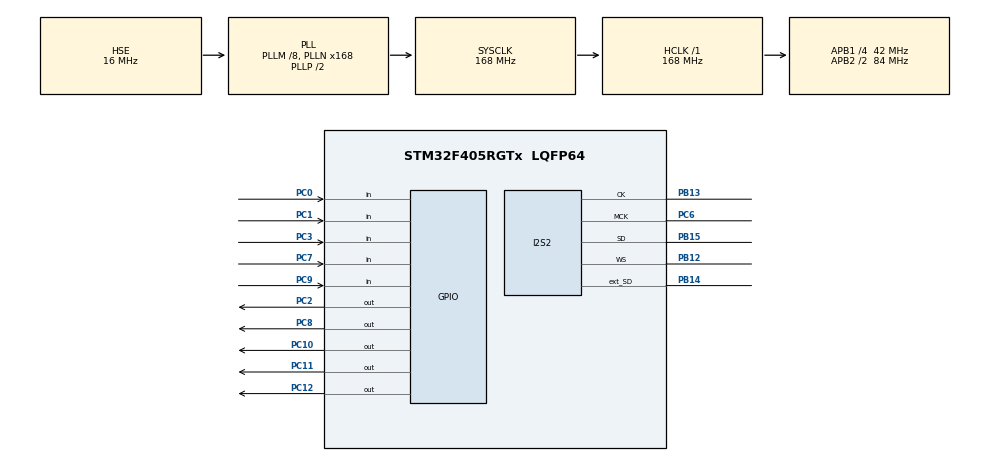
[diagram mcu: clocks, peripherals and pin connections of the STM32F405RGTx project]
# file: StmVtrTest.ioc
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Dma.I2S2_EXT_RX.1.Direction=DMA_PERIPH_TO_MEMORY
Dma.I2S2_EXT_RX.1.FIFOMode=DMA_FIFOMODE_DISABLE
Dma.I2S2_EXT_RX.1.Instance=DMA1_Stream3
Dma.I2S2_EXT_RX.1.MemDataAlignment=DMA_MDATAALIGN_HALFWORD
Dma.I2S2_EXT_RX.1.MemInc=DMA_MINC_ENABLE
Dma.I2S2_EXT_RX.1.Mode=DMA_CIRCULAR
Dma.I2S2_EXT_RX.1.PeriphDataAlignment=DMA_PDATAALIGN_HALFWORD
Dma.I2S2_EXT_RX.1.PeriphInc=DMA_PINC_DISABLE
Dma.I2S2_EXT_RX.1.Priority=DMA_PRIORITY_VERY_HIGH
Dma.Request0=SPI2_TX
Dma.Request1=I2S2_EXT_RX
Dma.SPI2_TX.0.Direction=DMA_MEMORY_TO_PERIPH
Dma.SPI2_TX.0.FIFOMode=DMA_FIFOMODE_DISABLE
Dma.SPI2_TX.0.Instance=DMA1_Stream4
Dma.SPI2_TX.0.MemDataAlignment=DMA_MDATAALIGN_HALFWORD
Dma.SPI2_TX.0.MemInc=DMA_MINC_ENABLE
Dma.SPI2_TX.0.Mode=DMA_CIRCULAR
Dma.SPI2_TX.0.PeriphDataAlignment=DMA_PDATAALIGN_HALFWORD
Dma.SPI2_TX.0.PeriphInc=DMA_PINC_DISABLE
Dma.SPI2_TX.0.Priority=DMA_PRIORITY_VERY_HIGH
I2S2.AudioFreq=I2S_AUDIOFREQ_48K
I2S2.ErrorAudioFreq=1.72 %
I2S2.FullDuplexMode=I2S_FULLDUPLEXMODE_ENABLE
I2S2.Instance=SPI$Index
I2S2.RealAudioFreq=48.828 KHz
I2S2.VirtualMode=I2S_MODE_MASTER
Mcu.Family=STM32F4
Mcu.Name=STM32F405RGTx
Mcu.Package=LQFP64
NVIC.DMA1_Stream3_IRQn=true\:0\:0\:false\:false\:true\:false\:true\:true
NVIC.DMA1_Stream4_IRQn=true\:0\:0\:false\:false\:true\:false\:true\:true
NVIC.PriorityGroup=NVIC_PRIORITYGROUP_4
PA10.Signal=USART1_RX
PA11.Signal=USB_OTG_FS_DM
PA12.Signal=USB_OTG_FS_DP
PB10.Signal=I2C2_SCL
PB11.Signal=I2C2_SDA
PB12.Mode=Full_Duplex_Master
PB12.Signal=I2S2_WS
PB13.Mode=Full_Duplex_Master
PB13.Signal=I2S2_CK
PB14.Mode=Full_Duplex_Master
PB14.Signal=I2S2_ext_SD
PB15.Mode=Full_Duplex_Master
PB15.Signal=I2S2_SD
PB7.Signal=I2C1_SDA
PB8.Signal=I2C1_SCL
PC0.Signal=GPIO_Input
PC1.Signal=GPIO_Input
PC10.Signal=GPIO_Output
PC11.Signal=GPIO_Output
PC12.Signal=GPIO_Output
PC2.Signal=GPIO_Output
PC3.Signal=GPIO_Input
PC6.Mode=Master_Clock_Activated
PC6.Signal=I2S2_MCK
PC7.Signal=GPIO_Input
PC8.Signal=GPIO_Output
PC9.Signal=GPIO_Input
PH0-OSC_IN.Mode=HSE-External-Oscillator
PH0-OSC_IN.Signal=RCC_OSC_IN
PH1-OSC_OUT.Mode=HSE-External-Oscillator
PH1-OSC_OUT.Signal=RCC_OSC_OUT
ProjectManager.HeapSize=0x200
ProjectManager.StackSize=0x400
ProjectManager.TargetToolchain=STM32CubeIDE
RCC.48MHZClocksFreq_Value=84000000
RCC.AHBFreq_Value=168000000
RCC.APB1CLKDivider=RCC_HCLK_DIV4
RCC.APB1Freq_Value=42000000
RCC.APB1TimFreq_Value=84000000
RCC.APB2CLKDivider=RCC_HCLK_DIV2
RCC.APB2Freq_Value=84000000
RCC.APB2TimFreq_Value=168000000
RCC.CortexFreq_Value=168000000
RCC.HCLKFreq_Value=168000000
RCC.HSE_VALUE=16000000
RCC.HSI_VALUE=16000000
RCC.LSE_VALUE=32768
RCC.PLLI2SN=50
RCC.PLLM=8
RCC.PLLN=168
RCC.PLLSourceVirtual=RCC_PLLSOURCE_HSE
RCC.SYSCLKFreq_VALUE=168000000
RCC.SYSCLKSource=RCC_SYSCLKSOURCE_PLLCLK
RCC.VCOOutputFreq_Value=336000000
board=custom

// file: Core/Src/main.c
/* USER CODE BEGIN Header */
/**
  ******************************************************************************
  * @file           : main.c
  * @brief          : Main program body
  ******************************************************************************
  * @attention
  *
  * Copyright (c) 2024 STMicroelectronics.
  * All rights reserved.
  *
  * This software is licensed under terms that can be found in the LICENSE file
  * in the root directory of this software component.
  * If no LICENSE file comes with this software, it is provided AS-IS.
  *
  ******************************************************************************
  */
/* USER CODE END Header */
#include "main.h"
#include "usb_device.h"

/* USER CODE BEGIN PTD */
#define BUFFER_SIZE 128
/* USER CODE END PTD */

I2S_HandleTypeDef hi2s2;
DMA_HandleTypeDef hdma_spi2_tx;
DMA_HandleTypeDef hdma_i2s2_ext_rx;

/* USER CODE BEGIN PV */
int16_t adcData[BUFFER_SIZE];
int16_t dacData[BUFFER_SIZE];

static volatile int16_t *inBufPtr;
static volatile int16_t *outBufPtr = &dacData[0];

uint8_t dataReadyFlag;
/* USER CODE END PV */

void SystemClock_Config(void);
static void MX_GPIO_Init(void);
static void MX_DMA_Init(void);
static void MX_I2S2_Init(void);

/* USER CODE BEGIN 0 */

void HAL_I2SEx_TxRxHalfCpltCallback(I2S_HandleTypeDef *hi2s){
	inBufPtr = &adcData[0];
	outBufPtr = &dacData[0];
	dataReadyFlag = 1;
}

void HAL_I2SEx_TxRxCpltCallback(I2S_HandleTypeDef *hi2s){
	inBufPtr = &adcData[BUFFER_SIZE/2];
	outBufPtr = &dacData[BUFFER_SIZE/2];
	dataReadyFlag = 1;
}
void processData(){
	static float leftIn, leftOut;
	static float rightIn, rightOut;
	for(uin8_t n = 0; n < (BUFFER_SIZE/2) - 1; n+=2){
		leftIn = INT16_TO_FLOAT * inBufPtr[n];
		if(leftIn > 1.0f){
			leftIn -= 2.0f;
		}
		leftOut = leftIn;
		outBufPtr[n] = (int16_t)(FLOAT_TO_INT16 * leftOut);

		rightIn = INT16_TO_FLOAT * inBufPtr[n+1];
		if(rightIn > 1.0f){
			rightIn -= 2.0f;
		}
		rightOut = rightIn;
		outBufPtr[n+1] = (int16_t)(FLOAT_TO_INT16 * rightOut);
	}
	dataReadyFlag = 0;
}
/* USER CODE END 0 */

int main(void)
{

  /* MCU Configuration--------------------------------------------------------*/

  /* Reset of all peripherals, Initializes the Flash interface and the Systick. */
  HAL_Init();

  /* Configure the system clock */
  SystemClock_Config();

  /* Initialize all configured peripherals */
  MX_GPIO_Init();
  MX_DMA_Init();
  MX_I2S2_Init();
  /* USER CODE BEGIN 2 */
  GDSP_Codec_Init(&codec, &hi2c2, CODEC_NRST_GPIO_Port, CODEC_NRST_Pin);
  HAL_Delay(50);
  HAL_StatusTypeDef status = HAL_I2SEx_TransmitReceive_DMA(&hi2s2, (uint16_t *) dacData, (uint16_t *) adcData, BUFFER_SIZE);

  /* USER CODE END 2 */

  /* Infinite loop */
  while (1)
  {
	  if(dataReadyFlag){
		  processData();
	  }

  }
}

void SystemClock_Config(void)
{
  RCC_OscInitTypeDef RCC_OscInitStruct = {0};
  RCC_ClkInitTypeDef RCC_ClkInitStruct = {0};

  /** Configure the main internal regulator output voltage
  */
  __HAL_RCC_PWR_CLK_ENABLE();
  __HAL_PWR_VOLTAGESCALING_CONFIG(PWR_REGULATOR_VOLTAGE_SCALE1);

  /** Initializes the RCC Oscillators according to the specified parameters
  * in the RCC_OscInitTypeDef structure.
  */
  RCC_OscInitStruct.OscillatorType = RCC_OSCILLATORTYPE_HSE;
  RCC_OscInitStruct.HSEState = RCC_HSE_ON;
  RCC_OscInitStruct.PLL.PLLState = RCC_PLL_ON;
  RCC_OscInitStruct.PLL.PLLSource = RCC_PLLSOURCE_HSE;
  RCC_OscInitStruct.PLL.PLLM = 8;
  RCC_OscInitStruct.PLL.PLLN = 168;
  RCC_OscInitStruct.PLL.PLLP = RCC_PLLP_DIV2;
  RCC_OscInitStruct.PLL.PLLQ = 4;
  if (HAL_RCC_OscConfig(&RCC_OscInitStruct) != HAL_OK)
  {
    Error_Handler();
  }

  /** Initializes the CPU, AHB and APB buses clocks
  */
  RCC_ClkInitStruct.ClockType = RCC_CLOCKTYPE_HCLK|RCC_CLOCKTYPE_SYSCLK
                              |RCC_CLOCKTYPE_PCLK1|RCC_CLOCKTYPE_PCLK2;
  RCC_ClkInitStruct.SYSCLKSource = RCC_SYSCLKSOURCE_PLLCLK;
  RCC_ClkInitStruct.AHBCLKDivider = RCC_SYSCLK_DIV1;
  RCC_ClkInitStruct.APB1CLKDivider = RCC_HCLK_DIV4;
  RCC_ClkInitStruct.APB2CLKDivider = RCC_HCLK_DIV2;

  if (HAL_RCC_ClockConfig(&RCC_ClkInitStruct, FLASH_LATENCY_5) != HAL_OK)
  {
    Error_Handler();
  }
}

static void MX_I2S2_Init(void)
{

  hi2s2.Instance = SPI2;
  hi2s2.Init.Mode = I2S_MODE_MASTER_TX;
  hi2s2.Init.Standard = I2S_STANDARD_PHILIPS;
  hi2s2.Init.DataFormat = I2S_DATAFORMAT_16B;
  hi2s2.Init.MCLKOutput = I2S_MCLKOUTPUT_ENABLE;
  hi2s2.Init.AudioFreq = I2S_AUDIOFREQ_48K;
  hi2s2.Init.CPOL = I2S_CPOL_LOW;
  hi2s2.Init.ClockSource = I2S_CLOCK_PLL;
  hi2s2.Init.FullDuplexMode = I2S_FULLDUPLEXMODE_ENABLE;
  if (HAL_I2S_Init(&hi2s2) != HAL_OK)
  {
    Error_Handler();
  }

}

static void MX_DMA_Init(void)
{

  /* DMA controller clock enable */
  __HAL_RCC_DMA1_CLK_ENABLE();

  /* DMA interrupt init */
  /* DMA1_Stream3_IRQn interrupt configuration */
  HAL_NVIC_SetPriority(DMA1_Stream3_IRQn, 0, 0);
  HAL_NVIC_EnableIRQ(DMA1_Stream3_IRQn);
  /* DMA1_Stream4_IRQn interrupt configuration */
  HAL_NVIC_SetPriority(DMA1_Stream4_IRQn, 0, 0);
  HAL_NVIC_EnableIRQ(DMA1_Stream4_IRQn);

}

static void MX_GPIO_Init(void)
{
  GPIO_InitTypeDef GPIO_InitStruct = {0};

  /* GPIO Ports Clock Enable */
  __HAL_RCC_GPIOH_CLK_ENABLE();
  __HAL_RCC_GPIOC_CLK_ENABLE();
  __HAL_RCC_GPIOB_CLK_ENABLE();
  __HAL_RCC_GPIOA_CLK_ENABLE();

  /*Configure GPIO pin Output Level */
  HAL_GPIO_WritePin(GPIOC, GPIO_PIN_2|GPIO_PIN_8|GPIO_PIN_10|GPIO_PIN_11
                          |GPIO_PIN_12, GPIO_PIN_RESET);

  /*Configure GPIO pins : PC0 PC1 PC3 PC7
                           PC9 */
  GPIO_InitStruct.Pin = GPIO_PIN_0|GPIO_PIN_1|GPIO_PIN_3|GPIO_PIN_7
                          |GPIO_PIN_9;
  GPIO_InitStruct.Mode = GPIO_MODE_INPUT;
  GPIO_InitStruct.Pull = GPIO_NOPULL;
  HAL_GPIO_Init(GPIOC, &GPIO_InitStruct);

  /*Configure GPIO pins : PC2 PC8 PC10 PC11
                           PC12 */
  GPIO_InitStruct.Pin = GPIO_PIN_2|GPIO_PIN_8|GPIO_PIN_10|GPIO_PIN_11
                          |GPIO_PIN_12;
  GPIO_InitStruct.Mode = GPIO_MODE_OUTPUT_PP;
  GPIO_InitStruct.Pull = GPIO_NOPULL;
  GPIO_InitStruct.Speed = GPIO_SPEED_FREQ_LOW;
  HAL_GPIO_Init(GPIOC, &GPIO_InitStruct);

  /*Configure GPIO pins : PB10 PB11 */
  GPIO_InitStruct.Pin = GPIO_PIN_10|GPIO_PIN_11;
  GPIO_InitStruct.Mode = GPIO_MODE_AF_OD;
  GPIO_InitStruct.Pull = GPIO_NOPULL;
  GPIO_InitStruct.Speed = GPIO_SPEED_FREQ_VERY_HIGH;
  GPIO_InitStruct.Alternate = GPIO_AF4_I2C2;
  HAL_GPIO_Init(GPIOB, &GPIO_InitStruct);

  /*Configure GPIO pin : PA10 */
  GPIO_InitStruct.Pin = GPIO_PIN_10;
  GPIO_InitStruct.Mode = GPIO_MODE_AF_PP;
  GPIO_InitStruct.Pull = GPIO_NOPULL;
  GPIO_InitStruct.Speed = GPIO_SPEED_FREQ_VERY_HIGH;
  GPIO_InitStruct.Alternate = GPIO_AF7_USART1;
  HAL_GPIO_Init(GPIOA, &GPIO_InitStruct);

  /*Configure GPIO pins : PA11 PA12 */
  GPIO_InitStruct.Pin = GPIO_PIN_11|GPIO_PIN_12;
  GPIO_InitStruct.Mode = GPIO_MODE_AF_PP;
  GPIO_InitStruct.Pull = GPIO_NOPULL;
  GPIO_InitStruct.Speed = GPIO_SPEED_FREQ_VERY_HIGH;
  GPIO_InitStruct.Alternate = GPIO_AF10_OTG_FS;
  HAL_GPIO_Init(GPIOA, &GPIO_InitStruct);

  /*Configure GPIO pins : PB7 PB8 */
  GPIO_InitStruct.Pin = GPIO_PIN_7|GPIO_PIN_8;
  GPIO_InitStruct.Mode = GPIO_MODE_AF_OD;
  GPIO_InitStruct.Pull = GPIO_NOPULL;
  GPIO_InitStruct.Speed = GPIO_SPEED_FREQ_VERY_HIGH;
  GPIO_InitStruct.Alternate = GPIO_AF4_I2C1;
  HAL_GPIO_Init(GPIOB, &GPIO_InitStruct);

}

void Error_Handler(void)
{
  __disable_irq();
  while (1)
  {
  }
}
